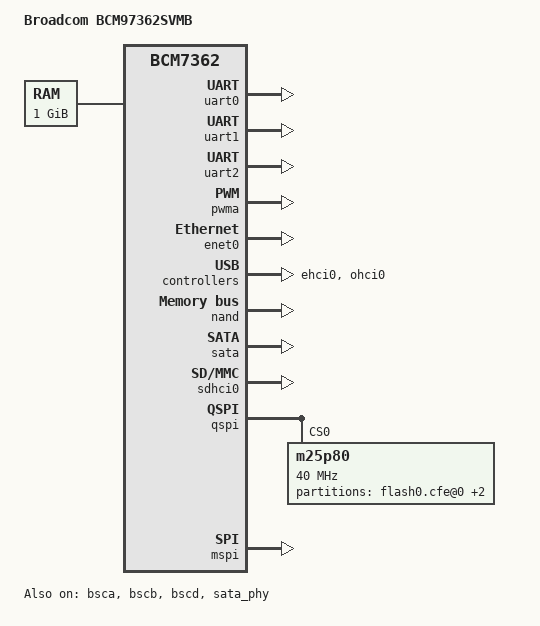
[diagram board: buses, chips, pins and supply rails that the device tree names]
/dts-v1/;

/include/ "bcm7362.dtsi"
/include/ "bcm97xxx-nand-cs1-bch4.dtsi"

/ {
	compatible = "brcm,bcm97362svmb", "brcm,bcm7362";
	model = "Broadcom BCM97362SVMB";

	memory@0 {
		device_type = "memory";
		reg = <0x00000000 0x10000000>, <0x20000000 0x30000000>;
	};

	chosen {
		bootargs = "console=ttyS0,115200";
		stdout-path = &uart0;
	};
};

&uart0 {
	status = "okay";
};

&uart1 {
	status = "okay";
};

&uart2 {
	status = "okay";
};

&bsca {
	status = "okay";
};

&bscb {
	status = "okay";
};

&bscd {
	status = "okay";
};

&pwma {
	status = "okay";
};

&enet0 {
	status = "okay";
};

&ehci0 {
	status = "okay";
};

&ohci0 {
	status = "okay";
};

&nand {
	status = "okay";
};

&sata {
	status = "okay";
};

&sata_phy {
	status = "okay";
};

&sdhci0 {
	status = "okay";
};

&qspi {
	status = "okay";

	m25p80@0 {
		compatible = "m25p80";
		reg = <0>;
		spi-max-frequency = <0x2625a00>;
		spi-cpol;
		spi-cpha;
		use-bspi;
		m25p,fast-read;

		partitions {
			compatible = "fixed-partitions";
			#address-cells = <1>;
			#size-cells = <1>;

			flash0.cfe@0 {
				reg = <0x0 0xa0000>;
			};

			flash0.nvram@a0000 {
				reg = <0xa0000 0x10000>;
			};

			flash0.mac@b0000 {
				reg = <0xb0000 0x10000>;
			};
		};
	};
};

&mspi {
	status = "okay";
};
